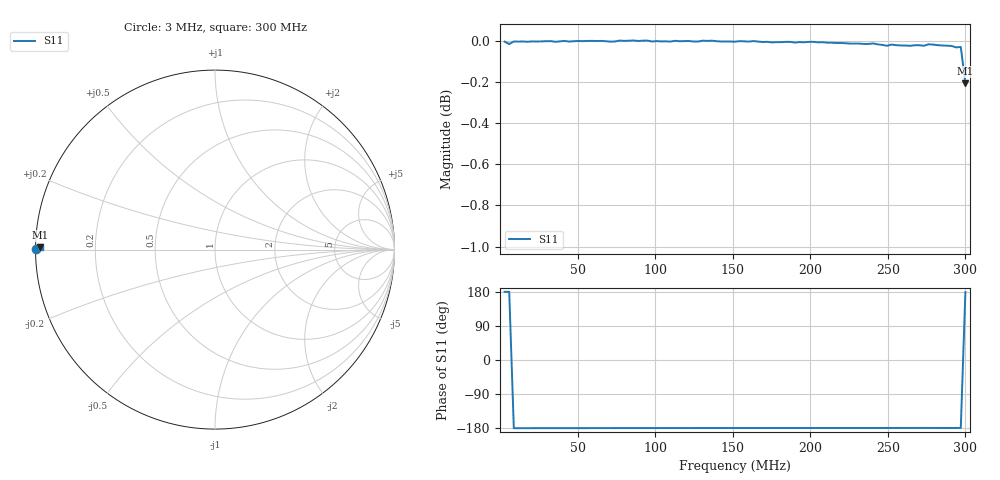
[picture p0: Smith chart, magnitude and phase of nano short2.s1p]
! File created by NanoVNA (https://gen111.taobao.com/)
! Start 3000000Hz  Stop 300000000Hz  Points 101
# HZ S MA R 50
!S - Parameter data, F S11
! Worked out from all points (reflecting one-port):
!   101 points, 3 MHz to 300 MHz, reference 50 ohm
!   lowest |S11| = -0.2 dB at 300 MHz (marker M1), VSWR 84.10, Z = 0.595 + j0.323 ohm
!   phase of S11 starts at 180 deg and turns -1 deg over the sweep
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3000000  0.9996 179.9
5970000  0.9983 180.0
8940000  0.9997 -179.9
1.191e7  0.9996 -179.9
2.973e7  0.9998 -179.8
4.161e7  1 -179.8
7.131e7  0.9996 -179.7
7.725e7  1 -179.7
1.1586e8  0.9998 -179.6
1.3665e8  1 -179.5
1.515e8  0.9996 -179.5
1.6338e8  0.9999 -179.5
1.9011e8  0.9991 -179.4
2.0199e8  0.9995 -179.4
2.2575e8  0.9985 -179.4
2.406e8  0.9986 -179.3
2.4951e8  0.9973 -179.3
2.5248e8  0.998 -179.3
2.6139e8  0.9974 -179.3
2.6436e8  0.9973 -179.3
2.7327e8  0.9973 -179.2
2.7624e8  0.9981 -179.3
2.7921e8  0.998 -179.2
2.8218e8  0.9976 -179.3
2.9109e8  0.9972 -179.3
2.9406e8  0.9964 -179.3
2.9703e8  0.9966 -179.3
3e8  0.9765 179.3
